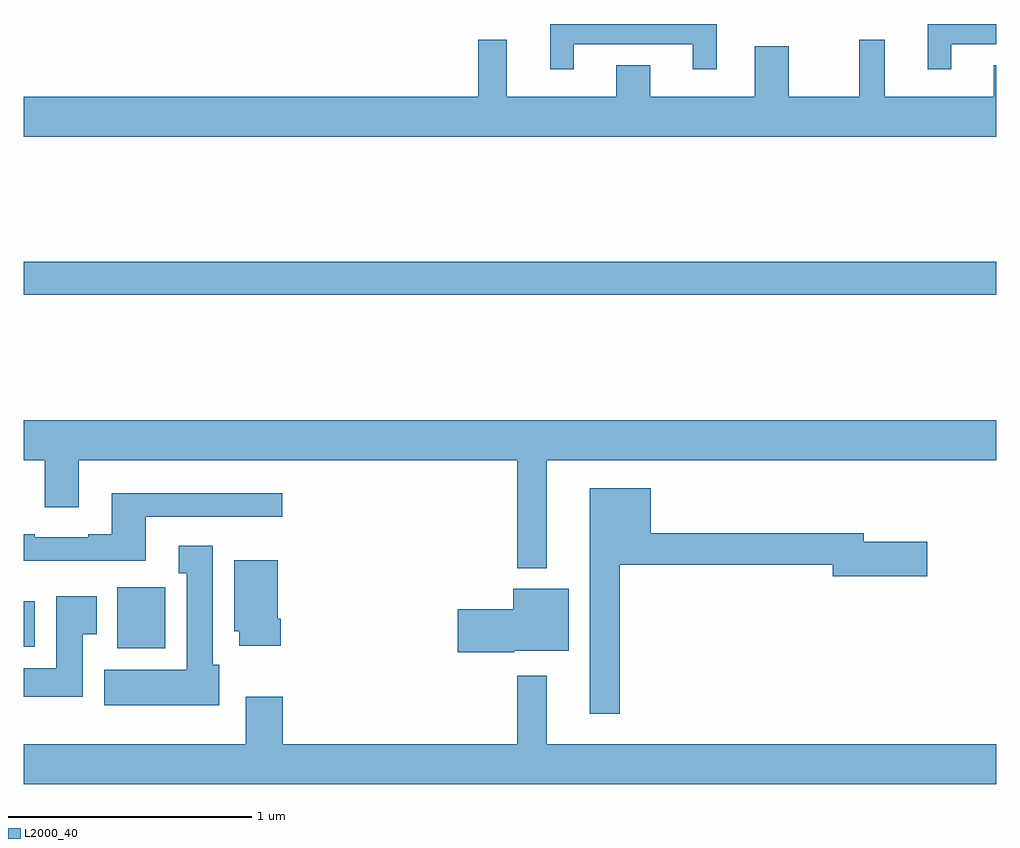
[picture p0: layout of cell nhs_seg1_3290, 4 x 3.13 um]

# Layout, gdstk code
import gdstk
lib = gdstk.Library(unit=1e-6, precision=1e-09)
def R(c, l, rs):  # rectangles x0, y0, x1, y1
    for r in rs: c.add(gdstk.rectangle(r[:2], r[2:], *l))
def P(c, l, *ps):  # polygons
    for p in ps: c.add(gdstk.Polygon(p, *l))
L2000_40 = (2000, 40)

nhs_seg1_3290 = lib.new_cell('nhs_seg1_3290')
R(nhs_seg1_3290, L2000_40, [(289.385,545.63,289.581,545.881), (289,545.636,289.045,545.824), (289,547.084,293,547.22)])
P(nhs_seg1_3290, L2000_40, [(292.816,548.115),(293,548.115),(293,548.199),(292.719,548.199),(292.719,548.013),(292.816,548.013)],
  [(291.262,548.115),(291.752,548.115),(291.752,548.013),(291.85,548.013),(291.85,548.199),(291.165,548.199),(291.165,548.013),(291.262,548.013)],
  [(293,548.03),(292.991,548.03),(292.991,547.9),(292.541,547.9),(292.541,548.134),(292.438,548.134),(292.438,547.9),(292.147,547.9),(292.147,548.107),(292.007,548.107),(292.007,547.9),(291.577,547.9),(291.577,548.03),(291.437,548.03),(291.437,547.9),(290.987,547.9),(290.987,548.134),(290.869,548.134),(290.869,547.9),(289,547.9),(289,547.736),(293,547.736)],
  [(291.151,546.404),(293,546.404),(293,546.568),(289,546.568),(289,546.404),(289.085,546.404),(289.085,546.21),(289.225,546.21),(289.225,546.404),(291.03,546.404),(291.03,545.96),(291.151,545.96)],
  [(291.451,545.974),(292.328,545.974),(292.328,545.927),(292.717,545.927),(292.717,546.069),(292.456,546.069),(292.456,546.103),(291.58,546.103),(291.58,546.289),(291.329,546.289),(291.329,545.361),(291.451,545.361)],
  [(289.501,546.171),(290.062,546.171),(290.062,546.268),(289.361,546.268),(289.361,546.1),(289.265,546.1),(289.265,546.087),(289.045,546.087),(289.045,546.1),(289,546.1),(289,545.99),(289.501,545.99)],
  [(289.804,545.562),(289.777,545.562),(289.777,546.052),(289.637,546.052),(289.637,545.939),(289.67,545.939),(289.67,545.542),(289.331,545.542),(289.331,545.396),(289.804,545.396)],
  [(290.057,545.752),(290.044,545.752),(290.044,545.992),(289.865,545.992),(289.865,545.7),(289.886,545.7),(289.886,545.64),(290.057,545.64)],
  [(291.018,545.621),(291.241,545.621),(291.241,545.875),(291.014,545.875),(291.014,545.792),(290.784,545.792),(290.784,545.614),(291.018,545.614)],
  [(289.243,545.689),(289.3,545.689),(289.3,545.845),(289.133,545.845),(289.133,545.548),(289,545.548),(289,545.43),(289.243,545.43)],
  [(293,545.236),(291.151,545.236),(291.151,545.518),(291.03,545.518),(291.03,545.236),(290.066,545.236),(290.066,545.431),(289.913,545.431),(289.913,545.236),(289,545.236),(289,545.072),(293,545.072)])

lib.write_gds('nhs_seg1_3290.gds')
